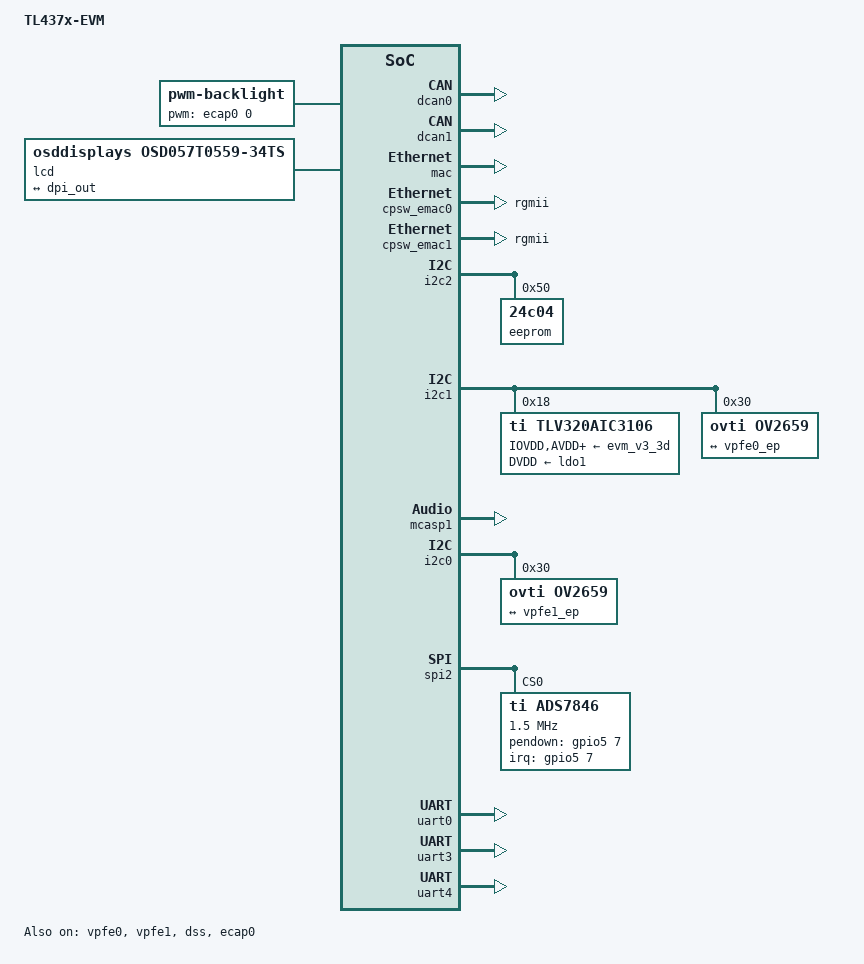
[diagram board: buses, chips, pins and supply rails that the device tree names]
/*
 * Copyright (C) 2015 GuangZhou Tronlong co., LTD - http://www.tronlong.com
 *
 * This program is free software; you can redistribute it and/or modify
 * it under the terms of the GNU General Public License version 2 as
 * published by the Free Software Foundation.
 */

/* device tree for TL437x-EVM board */

#include "tl437x-common.dtsi"

/{
	model = "TL437x-EVM";

	backlight {
		compatible = "pwm-backlight";

		pinctrl-names = "default";
		pinctrl-0 = <&ecap0_pins>;

		pwms = <&ecap0 0 50000 0>;
		brightness-levels = <0 32 64 96 128 159 191 223 255>;
		default-brightness-level = <8>;
	};

	sound1: sound1 {
		compatible = "simple-audio-card";
		simple-audio-card,name = "AM437x-GP-EVM";
		simple-audio-card,widgets =
			"Microphone", "Microphone Jack",
			"Line", "Line In Jack",
			"Line", "Line Out Jack";
		simple-audio-card,routing =
			"LINE1L", "Line In Jack",
			"LINE1R", "Line In Jack",
			"MIC3L", "Microphone Jack",
			"MIC3R", "Microphone Jack",
			"Microphone Jack", "Mic Bias",
			"Line Out Jack", "LLOUT",
			"Line Out Jack", "RLOUT";
		simple-audio-card,format = "dsp_b";
		simple-audio-card,bitclock-master = <&sound1_master>;
		simple-audio-card,frame-master = <&sound1_master>;
		simple-audio-card,bitclock-inversion;

		simple-audio-card,cpu {
			sound-dai = <&mcasp1>;
			system-clock-frequency = <24000000>;
		};

		sound1_master: simple-audio-card,codec {
			sound-dai = <&tlv320aic3106>;
			system-clock-frequency = <24000000>;
		};
	};

	lcd0: display {
		compatible = "osddisplays,osd057T0559-34ts", "panel-dpi";
		label = "lcd";

		panel-timing {
			clock-frequency = <33000000>;
			hactive = <800>;
			vactive = <480>;
			hfront-porch = <210>;
			hback-porch = <16>;
			hsync-len = <30>;
			vback-porch = <10>;
			vfront-porch = <22>;
			vsync-len = <13>;
			hsync-active = <0>;
			vsync-active = <0>;
			de-active = <1>;
			pixelclk-active = <1>;
		};

		port {
			lcd_in: endpoint {
				remote-endpoint = <&dpi_out>;
			};
		};
	};
};

&am43xx_pinmux {
	cpsw_default: cpsw_default {
		pinctrl-single,pins = <
			/* Slave 1 */
			AM4372_IOPAD(0x914, PIN_OUTPUT_PULLDOWN | MUX_MODE2)    	/* mii1_txen.rgmii1_txen */
			AM4372_IOPAD(0x918, PIN_INPUT_PULLDOWN | MUX_MODE2)     	/* mii1_rxdv.rgmii1_rxctl */
			AM4372_IOPAD(0x91c, PIN_OUTPUT_PULLDOWN | MUX_MODE2)    	/* mii1_txd1.rgmii1_txd3 */
			AM4372_IOPAD(0x920, PIN_OUTPUT_PULLDOWN | MUX_MODE2)    	/* mii1_txd0.rgmii1_txd2 */
			AM4372_IOPAD(0x924, PIN_OUTPUT_PULLDOWN | MUX_MODE2)    	/* mii1_txd1.rgmii1_txd1 */
			AM4372_IOPAD(0x928, PIN_OUTPUT_PULLDOWN | MUX_MODE2)    	/* mii1_txd0.rgmii1_txd0 */
			AM4372_IOPAD(0x92c, PIN_OUTPUT_PULLDOWN | MUX_MODE2)    	/* mii1_txclk.rmii1_tclk */
			AM4372_IOPAD(0x930, PIN_INPUT_PULLDOWN | MUX_MODE2)     	/* mii1_rxclk.rmii1_rclk */
			AM4372_IOPAD(0x934, PIN_INPUT_PULLDOWN | MUX_MODE2)     	/* mii1_rxd1.rgmii1_rxd3 */
			AM4372_IOPAD(0x938, PIN_INPUT_PULLDOWN | MUX_MODE2)     	/* mii1_rxd0.rgmii1_rxd2 */
			AM4372_IOPAD(0x93c, PIN_INPUT_PULLDOWN | MUX_MODE2)     	/* mii1_rxd1.rgmii1_rxd1 */
			AM4372_IOPAD(0x940, PIN_INPUT_PULLDOWN | MUX_MODE2)     	/* mii1_rxd0.rgmii1_rxd0 */

			/* Slave 2 */
			AM4372_IOPAD(0x840, PIN_OUTPUT_PULLDOWN | MUX_MODE2)    	/* gpmc_a0.rgmii2_tctl */
			AM4372_IOPAD(0x844, PIN_INPUT_PULLDOWN | MUX_MODE2)		/* gpmc_a1.rgmii2_rctl */
			AM4372_IOPAD(0x848, PIN_OUTPUT_PULLDOWN | MUX_MODE2)    	/* gpmc_a2.rgmii2_txd3 */
			AM4372_IOPAD(0x84c, PIN_OUTPUT_PULLDOWN | MUX_MODE2)    	/* gpmc_a3.rgmii2_txd2 */
			AM4372_IOPAD(0x850, PIN_OUTPUT_PULLDOWN | MUX_MODE2)    	/* gpmc_a4.rgmii2_txd1 */
			AM4372_IOPAD(0x854, PIN_OUTPUT_PULLDOWN | MUX_MODE2)    	/* gpmc_a5.rgmii2_txd0 */
			AM4372_IOPAD(0x858, PIN_OUTPUT_PULLDOWN | MUX_MODE2)    	/* gpmc_a6.rgmii2_tclk */
			AM4372_IOPAD(0x85c, PIN_INPUT_PULLDOWN | MUX_MODE2)		/* gpmc_a7.rgmii2_rclk */
			AM4372_IOPAD(0x860, PIN_INPUT_PULLDOWN | MUX_MODE2)		/* gpmc_a8.rgmii2_rxd3*/
			AM4372_IOPAD(0x864, PIN_INPUT_PULLDOWN | MUX_MODE2)		/* gpmc_a9.rgmii2_rxd2 */
			AM4372_IOPAD(0x868, PIN_INPUT_PULLDOWN | MUX_MODE2)		/* gpmc_a10.rgmii2_rxd1 */
			AM4372_IOPAD(0x86c, PIN_INPUT_PULLDOWN | MUX_MODE2)		/* gpmc_a11.rgmii2_rxd0 */
		>;
	};

	cpsw_sleep: cpsw_sleep {
		pinctrl-single,pins = <
			/* Slave 1 reset value */
			AM4372_IOPAD(0x914, PIN_INPUT_PULLDOWN | MUX_MODE7)
			AM4372_IOPAD(0x918, PIN_INPUT_PULLDOWN | MUX_MODE7)
			AM4372_IOPAD(0x91c, PIN_INPUT_PULLDOWN | MUX_MODE7)
			AM4372_IOPAD(0x920, PIN_INPUT_PULLDOWN | MUX_MODE7)
			AM4372_IOPAD(0x924, PIN_INPUT_PULLDOWN | MUX_MODE7)
			AM4372_IOPAD(0x928, PIN_INPUT_PULLDOWN | MUX_MODE7)
			AM4372_IOPAD(0x92c, PIN_INPUT_PULLDOWN | MUX_MODE7)
			AM4372_IOPAD(0x930, PIN_INPUT_PULLDOWN | MUX_MODE7)
			AM4372_IOPAD(0x934, PIN_INPUT_PULLDOWN | MUX_MODE7)
			AM4372_IOPAD(0x938, PIN_INPUT_PULLDOWN | MUX_MODE7)
			AM4372_IOPAD(0x93c, PIN_INPUT_PULLDOWN | MUX_MODE7)
			AM4372_IOPAD(0x940, PIN_INPUT_PULLDOWN | MUX_MODE7)

			/* Slave 2 reset value */
			AM4372_IOPAD(0x840, PIN_INPUT_PULLDOWN | MUX_MODE7)
			AM4372_IOPAD(0x844, PIN_INPUT_PULLDOWN | MUX_MODE7)
			AM4372_IOPAD(0x848, PIN_INPUT_PULLDOWN | MUX_MODE7)
			AM4372_IOPAD(0x84c, PIN_INPUT_PULLDOWN | MUX_MODE7)
			AM4372_IOPAD(0x850, PIN_INPUT_PULLDOWN | MUX_MODE7)
			AM4372_IOPAD(0x854, PIN_INPUT_PULLDOWN | MUX_MODE7)
			AM4372_IOPAD(0x858, PIN_INPUT_PULLDOWN | MUX_MODE7)
			AM4372_IOPAD(0x85c, PIN_INPUT_PULLDOWN | MUX_MODE7)
			AM4372_IOPAD(0x860, PIN_INPUT_PULLDOWN | MUX_MODE7)
			AM4372_IOPAD(0x864, PIN_INPUT_PULLDOWN | MUX_MODE7)
			AM4372_IOPAD(0x868, PIN_INPUT_PULLDOWN | MUX_MODE7)
			AM4372_IOPAD(0x86c, PIN_INPUT_PULLDOWN | MUX_MODE7)
		>;
	};

	dcan0_default: dcan0_default_pins {
		pinctrl-single,pins = <
			AM4372_IOPAD(0x978, PIN_OUTPUT | MUX_MODE2)             /* uart1_ctsn.d_can0_tx */
			AM4372_IOPAD(0x97c, PIN_INPUT_PULLUP | MUX_MODE2)       /* uart1_rtsn.d_can0_rx */
		>;
	};

	dcan1_default: dcan1_default_pins {
		pinctrl-single,pins = <
			AM4372_IOPAD(0x980, PIN_OUTPUT | MUX_MODE2)             /* uart1_rxd.d_can1_tx */
			AM4372_IOPAD(0x984, PIN_INPUT_PULLUP | MUX_MODE2)       /* uart1_txd.d_can1_rx */
		>;
	};

	mcasp1_pins: mcasp1_pins {
		pinctrl-single,pins = <
			AM4372_IOPAD(0x908, PIN_OUTPUT_PULLDOWN | MUX_MODE4)    /* mii1_col.mcasp1_axr2 */
			AM4372_IOPAD(0x90c, PIN_INPUT_PULLDOWN | MUX_MODE4)     /* mii1_crs.mcasp1_aclkx */
			AM4372_IOPAD(0x910, PIN_INPUT_PULLDOWN | MUX_MODE4)     /* mii1_rxerr.mcasp1_fsx */
			AM4372_IOPAD(0x944, PIN_INPUT_PULLDOWN | MUX_MODE4)     /* rmii1_ref_clk.mcasp1_axr3 */
		>;
	};

	i2c2_pins: i2c2_pins {
		pinctrl-single,pins = <
			AM4372_IOPAD(0x954, PIN_INPUT_PULLUP | SLEWCTRL_FAST | MUX_MODE2)       /* spi0_d0.i2c2_scl */
			AM4372_IOPAD(0x950, PIN_INPUT_PULLUP | SLEWCTRL_FAST | MUX_MODE2)       /* spi0_sclk.i2c2_sda */
		>;
	};

	ads7846_pins: ads7846_pins {
		pinctrl-single,pins = <
			AM4372_IOPAD(0xa5c, PIN_INPUT_PULLUP | MUX_MODE7)       /* spi4_cs0.gpio5_7 */
		>;
	};

	vpfe0_pins_default: vpfe0_pins_default {
		pinctrl-single,pins = <
			AM4372_IOPAD(0x9b0, PIN_INPUT_PULLUP | MUX_MODE0)  	/* cam0_hd mode 0*/
			AM4372_IOPAD(0x9b4, PIN_INPUT_PULLUP | MUX_MODE0)  	/* cam0_vd mode 0*/
			AM4372_IOPAD(0x9c0, PIN_INPUT_PULLUP | MUX_MODE0)  	/* cam0_pclk mode 0*/
			AM4372_IOPAD(0x9c4, PIN_INPUT_PULLUP | MUX_MODE0)  	/* cam0_data8 mode 0*/
			AM4372_IOPAD(0x9c8, PIN_INPUT_PULLUP | MUX_MODE0)  	/* cam0_data9 mode 0*/
			AM4372_IOPAD(0xa08, PIN_INPUT_PULLUP | MUX_MODE0)  	/* cam0_data0 mode 0*/
			AM4372_IOPAD(0xa0c, PIN_INPUT_PULLUP | MUX_MODE0)  	/* cam0_data1 mode 0*/
			AM4372_IOPAD(0xa10, PIN_INPUT_PULLUP | MUX_MODE0)  	/* cam0_data2 mode 0*/
			AM4372_IOPAD(0xa14, PIN_INPUT_PULLUP | MUX_MODE0)  	/* cam0_data3 mode 0*/
			AM4372_IOPAD(0xa18, PIN_INPUT_PULLUP | MUX_MODE0)  	/* cam0_data4 mode 0*/
			AM4372_IOPAD(0xa1c, PIN_INPUT_PULLUP | MUX_MODE0)  	/* cam0_data5 mode 0*/
			AM4372_IOPAD(0xa20, PIN_INPUT_PULLUP | MUX_MODE0)  	/* cam0_data6 mode 0*/
			AM4372_IOPAD(0xa24, PIN_INPUT_PULLUP | MUX_MODE0)  	/* cam0_data7 mode 0*/
		>;
	};

	vpfe1_pins_default: vpfe1_pins_default {
		pinctrl-single,pins = <
			AM4372_IOPAD(0x9cc, PIN_INPUT_PULLUP | MUX_MODE0)  /* cam1_data9 mode 0*/
			AM4372_IOPAD(0x9d0, PIN_INPUT_PULLUP | MUX_MODE0)  /* cam1_data8 mode 0*/
			AM4372_IOPAD(0x9d4, PIN_INPUT_PULLUP | MUX_MODE0)  /* cam1_hd mode 0*/
			AM4372_IOPAD(0x9d8, PIN_INPUT_PULLUP | MUX_MODE0)  /* cam1_vd mode 0*/
			AM4372_IOPAD(0x9dC, PIN_INPUT_PULLUP | MUX_MODE0)  /* cam1_pclk mode 0*/
			AM4372_IOPAD(0x9e8, PIN_INPUT_PULLUP | MUX_MODE0)  /* cam1_data0 mode 0*/
			AM4372_IOPAD(0x9ec, PIN_INPUT_PULLUP | MUX_MODE0)  /* cam1_data1 mode 0*/
			AM4372_IOPAD(0x9f0, PIN_INPUT_PULLUP | MUX_MODE0)  /* cam1_data2 mode 0*/
			AM4372_IOPAD(0x9f4, PIN_INPUT_PULLUP | MUX_MODE0)  /* cam1_data3 mode 0*/
			AM4372_IOPAD(0x9f8, PIN_INPUT_PULLUP | MUX_MODE0)  /* cam1_data4 mode 0*/
			AM4372_IOPAD(0x9fc, PIN_INPUT_PULLUP | MUX_MODE0)  /* cam1_data5 mode 0*/
			AM4372_IOPAD(0xa00, PIN_INPUT_PULLUP | MUX_MODE0)  /* cam1_data6 mode 0*/
			AM4372_IOPAD(0xa04, PIN_INPUT_PULLUP | MUX_MODE0)  /* cam1_data7 mode 0*/
		>;
	};

	dss_pins: dss_pins {
		pinctrl-single,pins = <
			AM4372_IOPAD(0x820, PIN_OUTPUT_PULLUP | MUX_MODE1) /*gpmc ad 8 -> DSS DATA 23 */
			AM4372_IOPAD(0x824, PIN_OUTPUT_PULLUP | MUX_MODE1)
			AM4372_IOPAD(0x828, PIN_OUTPUT_PULLUP | MUX_MODE1)
			AM4372_IOPAD(0x82c, PIN_OUTPUT_PULLUP | MUX_MODE1)
			AM4372_IOPAD(0x830, PIN_OUTPUT_PULLUP | MUX_MODE1)
			AM4372_IOPAD(0x834, PIN_OUTPUT_PULLUP | MUX_MODE1)
			AM4372_IOPAD(0x838, PIN_OUTPUT_PULLUP | MUX_MODE1)
			AM4372_IOPAD(0x83c, PIN_OUTPUT_PULLUP | MUX_MODE1) /*gpmc ad 15 -> DSS DATA 16 */
			AM4372_IOPAD(0x8a0, PIN_OUTPUT_PULLUP | MUX_MODE0) /* DSS DATA 0 */
			AM4372_IOPAD(0x8a4, PIN_OUTPUT_PULLUP | MUX_MODE0)
			AM4372_IOPAD(0x8a8, PIN_OUTPUT_PULLUP | MUX_MODE0)
			AM4372_IOPAD(0x8ac, PIN_OUTPUT_PULLUP | MUX_MODE0)
			AM4372_IOPAD(0x8b0, PIN_OUTPUT_PULLUP | MUX_MODE0)
			AM4372_IOPAD(0x8b4, PIN_OUTPUT_PULLUP | MUX_MODE0)
			AM4372_IOPAD(0x8b8, PIN_OUTPUT_PULLUP | MUX_MODE0)
			AM4372_IOPAD(0x8bc, PIN_OUTPUT_PULLUP | MUX_MODE0)
			AM4372_IOPAD(0x8c0, PIN_OUTPUT_PULLUP | MUX_MODE0)
			AM4372_IOPAD(0x8c4, PIN_OUTPUT_PULLUP | MUX_MODE0)
			AM4372_IOPAD(0x8c8, PIN_OUTPUT_PULLUP | MUX_MODE0)
			AM4372_IOPAD(0x8cc, PIN_OUTPUT_PULLUP | MUX_MODE0)
			AM4372_IOPAD(0x8d0, PIN_OUTPUT_PULLUP | MUX_MODE0)
			AM4372_IOPAD(0x8d4, PIN_OUTPUT_PULLUP | MUX_MODE0)
			AM4372_IOPAD(0x8d8, PIN_OUTPUT_PULLUP | MUX_MODE0)
			AM4372_IOPAD(0x8dc, PIN_OUTPUT_PULLUP | MUX_MODE0) /* DSS DATA 15 */
			AM4372_IOPAD(0x8e0, PIN_OUTPUT_PULLUP | MUX_MODE0) /* DSS VSYNC */
			AM4372_IOPAD(0x8e4, PIN_OUTPUT_PULLUP | MUX_MODE0) /* DSS HSYNC */
			AM4372_IOPAD(0x8e8, PIN_OUTPUT_PULLUP | MUX_MODE0) /* DSS PCLK */
			AM4372_IOPAD(0x8ec, PIN_OUTPUT_PULLUP | MUX_MODE0) /* DSS AC BIAS EN */

		>;
	};

	ecap0_pins: backlight_pins {
		pinctrl-single,pins = <
			AM4372_IOPAD(0x964, MUX_MODE0)       /* eCAP0_in_PWM0_out.eCAP0_in_PWM0_out MODE0 */
		>;
	};

	uart0_pins: uart0_pins {
		pinctrl-single,pins = <
			AM4372_IOPAD(0x970, PIN_INPUT_PULLUP | SLEWCTRL_FAST | DS0_PULL_UP_DOWN_EN | MUX_MODE0) /* uart0_rxd.uart0_rxd */
			AM4372_IOPAD(0x974, PIN_INPUT | PULL_DISABLE | SLEWCTRL_FAST | DS0_PULL_UP_DOWN_EN | MUX_MODE0) /* uart0_txd.uart0_txd */
		>;
	};

	uart3_pins: uart3_pins {
		pinctrl-single,pins = <
			AM4372_IOPAD(0xa28, PIN_INPUT_PULLUP | MUX_MODE0)   /* uart3_rxd.uart3_rxd */
			AM4372_IOPAD(0xa2c, PIN_OUTPUT_PULLDOWN | MUX_MODE0) /* uart3_txd.uart3_txd */
		>;
	};

	uart4_pins: uart4_pins {
		pinctrl-single,pins = <
			AM4372_IOPAD(0x968, PIN_INPUT_PULLUP | MUX_MODE1)   /* uart0_ctsn.uart4_rxd */
			AM4372_IOPAD(0x96c, PIN_OUTPUT_PULLDOWN | MUX_MODE1) /* uart0_rtsn.uart4_txd */
		>;
	};
};


&dcan0 {
	pinctrl-names = "default";
	pinctrl-0 = <&dcan0_default>;
	status = "okay";
};


&dcan1 {
	pinctrl-names = "default";
	pinctrl-0 = <&dcan1_default>;
	status = "okay";
};

&mac {
	slaves = <2>;
	pinctrl-names = "default","sleep";
	pinctrl-0 = <&cpsw_default>;
	pinctrl-1 = <&cpsw_sleep>;
	dual_emac;
	status = "okay";
};

&cpsw_emac0 {
	phy_id = <&davinci_mdio>, <4>;
	phy-mode = "rgmii";
	dual_emac_res_vlan = <1>;
};

&cpsw_emac1 {
	phy_id = <&davinci_mdio>, <5>;
	phy-mode = "rgmii";
	dual_emac_res_vlan = <2>;
};

&i2c2 {
	status = "okay";
	pinctrl-names = "default";
	pinctrl-0 = <&i2c2_pins>;

	eeprom@50 {
		compatible = "24c04";
		reg = <0x50>;
		pagesize = <16>;
	};
};

&i2c1 {
	status = "okay";

	tlv320aic3106: tlv320aic3106@18 {
		#sound-dai-cells = <0>;
		compatible = "ti,tlv320aic3106";
		reg = <0x18>;
		status = "okay";

		ai3x-micbias-vg = <1>; /* MICBIAS output is powered to 2.0V */

		/* Regulators */
		IOVDD-supply = <&evm_v3_3d>; /* V3_3D -> <tps63031> EN: V1_8D -> VBAT */
		AVDD-supply = <&evm_v3_3d>; /* v3_3AUD -> V3_3D -> ... */
		DRVDD-supply = <&evm_v3_3d>; /* v3_3AUD -> V3_3D -> ... */
		DVDD-supply = <&ldo1>; /* V1_8D -> LDO1 */
	};

	ov2659@30 {
		compatible = "ovti,ov2659";
		reg = <0x30>;

		clocks = <&audio_mstrclk>;
		clock-names = "xvclk";

		port {
			ov2659_0: endpoint {
				remote-endpoint = <&vpfe0_ep>;
				link-frequencies = /bits/ 64 <70000000>;
			};
		};
	};
};

&vpfe0 {
	status = "okay";
	pinctrl-names = "default";
	pinctrl-0 = <&vpfe0_pins_default>;

	port {
		vpfe0_ep: endpoint {
			remote-endpoint = <&ov2659_0>;
			ti,am437x-vpfe-interface = <0>;
			bus-width = <8>;
			hsync-active = <0>;
			vsync-active = <0>;
		};
	};
};

&mcasp1 {
	#sound-dai-cells = <0>;
	pinctrl-names = "default";
	pinctrl-0 = <&mcasp1_pins>;

	status = "okay";

	op-mode = <0>; /* MCASP_IIS_MODE */
	tdm-slots = <2>;
	/* 4 serializers */
	serial-dir = <  /* 0: INACTIVE, 1: TX, 2: RX */
		0 0 1 2
	>;
	tx-num-evt = <32>;
	rx-num-evt = <32>;
};

&vpfe1 {
	status = "okay";
	pinctrl-names = "default";
	pinctrl-0 = <&vpfe1_pins_default>;

	port {
		vpfe1_ep: endpoint {
			remote-endpoint = <&ov2659_1>;
			ti,am437x-vpfe-interface = <0>;
			bus-width = <8>;
			hsync-active = <0>;
			vsync-active = <0>;
		};
	};
};

&i2c0 {
	status = "okay";

	ov2659@30 {
		compatible = "ovti,ov2659";
		reg = <0x30>;
		clocks = <&audio_mstrclk>;
		clock-names = "xvclk";
		port {
			ov2659_1: endpoint {
				remote-endpoint = <&vpfe1_ep>;
				link-frequencies = /bits/ 64 <70000000>;
			};
		};
	};
};

&dss {
	status = "ok";

	pinctrl-names = "default";
	pinctrl-0 = <&dss_pins>;

	port {
		dpi_out: endpoint {
			remote-endpoint = <&lcd_in>;
			data-lines = <24>;
		};
	};
};

&spi2 {
	status = "okay";
	pinctrl-names = "default";
	pinctrl-0 = <&spi2_pins>;
	ti,pindir-d0-out-d1-in;

	ads7846@0 {
		pinctrl-names = "default";
		pinctrl-0 = <&ads7846_pins>;

		compatible = "ti,ads7846";

		reg = <0>;			/* CS0 */
		spi-max-frequency = <1500000>;

		interrupt-parent = <&gpio5>;
		interrupts = <7 0>;		/* gpio5_7 */
		pendown-gpio = <&gpio5 7 0>;

		ti,x-min = /bits/ 16 <0x0>;
		ti,x-max = /bits/ 16 <0x0fff>;
		ti,y-min = /bits/ 16 <0x0>;
		ti,y-max = /bits/ 16 <0x0fff>;

		ti,x-plate-ohms = /bits/ 16 <180>;
		ti,pressure-max = /bits/ 16 <255>;

		ti,debounce-max = /bits/ 16 <10>;
		ti,debounce-tol = /bits/ 16 <30>;
		ti,debounce-rep = /bits/ 16 <1>;

		ti,settle-delay-usec = /bits/ 16 <150>;
		ti,keep-vref-on = <1>;

		linux,wakeup;
	};
};

&ecap0 {
	status = "okay";
};

&uart0 {
	status = "okay";
	pinctrl-names = "default";
	pinctrl-0 = <&uart0_pins>;
};

&uart3 {
	status = "okay";
	pinctrl-names = "default";
	pinctrl-0 = <&uart3_pins>;
};

&uart4 {
	status = "okay";
	pinctrl-names = "default";
	pinctrl-0 = <&uart4_pins>;
};

&dispc {
	ti,no-reset-on-init;
	ti,no-idle;
};

&dss {
	ti,no-reset-on-init;
	ti,no-idle;
};

&gpio0 {
	ti,no-reset-on-init;
};
